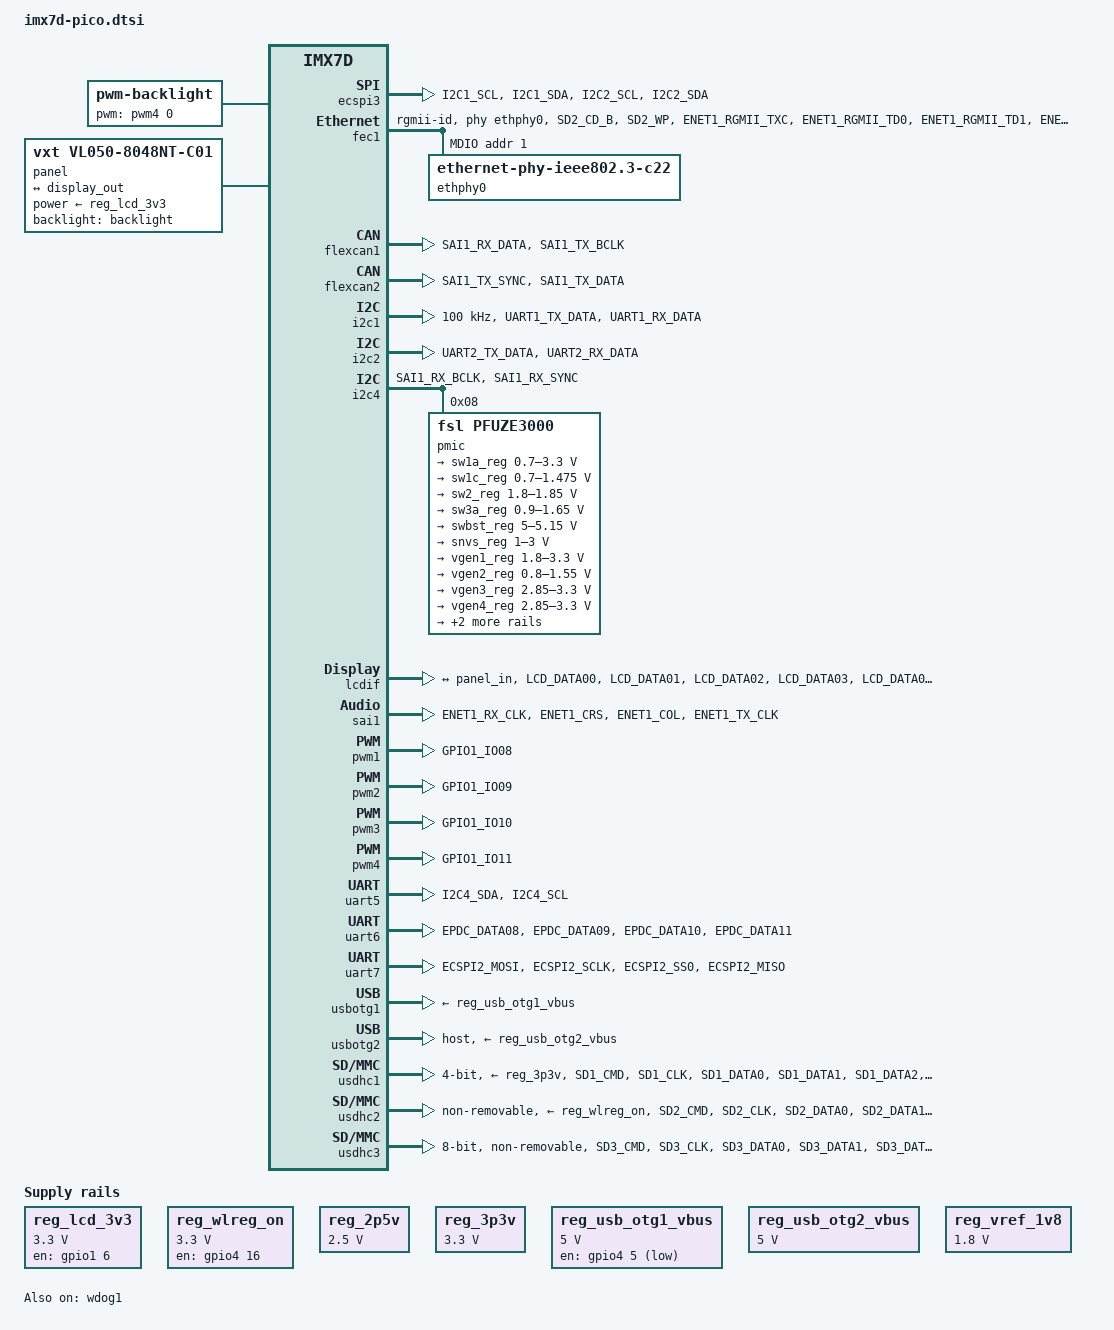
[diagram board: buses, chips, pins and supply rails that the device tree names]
// SPDX-License-Identifier: (GPL-2.0+ OR MIT)
//
// Copyright 2017 NXP

/dts-v1/;

#include "imx7d.dtsi"

/ {
	backlight: backlight {
		compatible = "pwm-backlight";
		pwms = <&pwm4 0 50000 0>;
		brightness-levels = <0 36 72 108 144 180 216 255>;
		default-brightness-level = <6>;
	};

	/* Will be filled by the bootloader */
	memory@80000000 {
		device_type = "memory";
		reg = <0x80000000 0>;
	};

	panel {
		compatible = "vxt,vl050-8048nt-c01";
		backlight = <&backlight>;
		power-supply = <&reg_lcd_3v3>;

		port {
			panel_in: endpoint {
				remote-endpoint = <&display_out>;
			};
		};
	};

	reg_lcd_3v3: regulator-lcd-3v3 {
		compatible = "regulator-fixed";
		pinctrl-names = "default";
		pinctrl-0 = <&pinctrl_reg_lcdreg_on>;
		regulator-name = "lcd-3v3";
		regulator-min-microvolt = <3300000>;
		regulator-max-microvolt = <3300000>;
		gpio = <&gpio1 6 GPIO_ACTIVE_HIGH>;
		enable-active-high;
        };

	reg_wlreg_on: regulator-wlreg_on {
		compatible = "regulator-fixed";
		pinctrl-names = "default";
		pinctrl-0 = <&pinctrl_reg_wlreg_on>;
		regulator-name = "wlreg_on";
		regulator-min-microvolt = <3300000>;
		regulator-max-microvolt = <3300000>;
		gpio = <&gpio4 16 GPIO_ACTIVE_HIGH>;
		enable-active-high;
	};

	reg_2p5v: regulator-2p5v {
		compatible = "regulator-fixed";
		regulator-name = "2P5V";
		regulator-min-microvolt = <2500000>;
		regulator-max-microvolt = <2500000>;
		regulator-always-on;
	};

	reg_3p3v: regulator-3p3v {
		compatible = "regulator-fixed";
		regulator-name = "3P3V";
		regulator-min-microvolt = <3300000>;
		regulator-max-microvolt = <3300000>;
		regulator-always-on;
	};

	reg_usb_otg1_vbus: regulator-usb-otg1-vbus {
		pinctrl-names = "default";
		pinctrl-0 = <&pinctrl_usbotg1_pwr>;
		compatible = "regulator-fixed";
		regulator-name = "usb_otg1_vbus";
		regulator-min-microvolt = <5000000>;
		regulator-max-microvolt = <5000000>;
		gpio = <&gpio4 5 GPIO_ACTIVE_LOW>;
	};

	reg_usb_otg2_vbus: regulator-usb-otg2-vbus {
		compatible = "regulator-fixed";
		regulator-name = "usb_otg2_vbus";
		regulator-min-microvolt = <5000000>;
		regulator-max-microvolt = <5000000>;
	};

	reg_vref_1v8: regulator-vref-1v8 {
		compatible = "regulator-fixed";
		regulator-name = "vref-1v8";
		regulator-min-microvolt = <1800000>;
		regulator-max-microvolt = <1800000>;
	};

	usdhc2_pwrseq: usdhc2_pwrseq {
		compatible = "mmc-pwrseq-simple";
		clocks = <&clks IMX7D_CLKO2_ROOT_DIV>;
		clock-names = "ext_clock";
	};
};

&clks {
	assigned-clocks = <&clks IMX7D_CLKO2_ROOT_SRC>,
			  <&clks IMX7D_CLKO2_ROOT_DIV>;
	assigned-clock-parents = <&clks IMX7D_CKIL>;
	assigned-clock-rates = <0>, <32768>;
};

&ecspi3 {
	cs-gpios = <&gpio4 11 GPIO_ACTIVE_LOW>;
	pinctrl-names = "default";
	pinctrl-0 = <&pinctrl_ecspi3>;
	status = "okay";
};

&fec1 {
	pinctrl-names = "default";
	pinctrl-0 = <&pinctrl_enet1>;
	assigned-clocks = <&clks IMX7D_ENET1_TIME_ROOT_SRC>,
			  <&clks IMX7D_ENET1_TIME_ROOT_CLK>;
	assigned-clock-parents = <&clks IMX7D_PLL_ENET_MAIN_100M_CLK>;
	assigned-clock-rates = <0>, <100000000>;
	phy-mode = "rgmii-id";
	phy-handle = <&ethphy0>;
	fsl,magic-packet;
	phy-reset-gpios = <&gpio6 11 GPIO_ACTIVE_LOW>;
	status = "okay";

	mdio {
		#address-cells = <1>;
		#size-cells = <0>;

		ethphy0: ethernet-phy@1 {
			compatible = "ethernet-phy-ieee802.3-c22";
			reg = <1>;
			status = "okay";
		};
	};
};

&flexcan1 {
	pinctrl-names = "default";
	pinctrl-0 = <&pinctrl_can1>;
	status = "okay";
};

&flexcan2 {
	pinctrl-names = "default";
	pinctrl-0 = <&pinctrl_can2>;
	status = "okay";
};

&i2c1 {
	clock-frequency = <100000>;
	pinctrl-names = "default";
	pinctrl-0 = <&pinctrl_i2c1>;
	status = "okay";
};

&i2c2 {
	pinctrl-names = "default";
	pinctrl-0 = <&pinctrl_i2c2>;
	status = "okay";
};

&i2c4 {
	pinctrl-names = "default";
	pinctrl-0 = <&pinctrl_i2c4>;
	status = "okay";

	pmic: pfuze3000@8 {
		compatible = "fsl,pfuze3000";
		reg = <0x08>;

		regulators {
			sw1a_reg: sw1a {
				regulator-min-microvolt = <700000>;
				regulator-max-microvolt = <3300000>;
				regulator-boot-on;
				regulator-always-on;
				regulator-ramp-delay = <6250>;
			};
			/* use sw1c_reg to align with pfuze100/pfuze200 */
			sw1c_reg: sw1b {
				regulator-min-microvolt = <700000>;
				regulator-max-microvolt = <1475000>;
				regulator-boot-on;
				regulator-always-on;
				regulator-ramp-delay = <6250>;
			};

			sw2_reg: sw2 {
				regulator-min-microvolt = <1800000>;
				regulator-max-microvolt = <1850000>;
				regulator-boot-on;
				regulator-always-on;
			};

			sw3a_reg: sw3 {
				regulator-min-microvolt = <900000>;
				regulator-max-microvolt = <1650000>;
				regulator-boot-on;
				regulator-always-on;
			};

			swbst_reg: swbst {
				regulator-min-microvolt = <5000000>;
				regulator-max-microvolt = <5150000>;
			};

			snvs_reg: vsnvs {
				regulator-min-microvolt = <1000000>;
				regulator-max-microvolt = <3000000>;
				regulator-boot-on;
				regulator-always-on;
			};

			vref_reg: vrefddr {
				regulator-boot-on;
				regulator-always-on;
			};

			vgen1_reg: vldo1 {
				regulator-min-microvolt = <1800000>;
				regulator-max-microvolt = <3300000>;
				regulator-always-on;
			};

			vgen2_reg: vldo2 {
				regulator-min-microvolt = <800000>;
				regulator-max-microvolt = <1550000>;
			};

			vgen3_reg: vccsd {
				regulator-min-microvolt = <2850000>;
				regulator-max-microvolt = <3300000>;
				regulator-always-on;
			};

			vgen4_reg: v33 {
				regulator-min-microvolt = <2850000>;
				regulator-max-microvolt = <3300000>;
				regulator-always-on;
			};

			vgen5_reg: vldo3 {
				regulator-min-microvolt = <1800000>;
				regulator-max-microvolt = <3300000>;
				regulator-always-on;
			};

			vgen6_reg: vldo4 {
				regulator-min-microvolt = <1800000>;
				regulator-max-microvolt = <3300000>;
				regulator-always-on;
			};
		};
	};
};

&lcdif {
	pinctrl-names = "default";
	pinctrl-0 = <&pinctrl_lcdif>;
	status = "okay";

	port {
		display_out: endpoint {
			remote-endpoint = <&panel_in>;
		};
	};
};

&sai1 {
	pinctrl-names = "default";
	pinctrl-0 = <&pinctrl_sai1>;
	assigned-clocks = <&clks IMX7D_SAI1_ROOT_SRC>,
			  <&clks IMX7D_SAI1_ROOT_CLK>;
	assigned-clock-parents = <&clks IMX7D_PLL_AUDIO_POST_DIV>;
	assigned-clock-rates = <0>, <24576000>;
	status = "okay";
};


&pwm1 {
	pinctrl-names = "default";
	pinctrl-0 = <&pinctrl_pwm1>;
	status = "okay";
};

&pwm2 {
	pinctrl-names = "default";
	pinctrl-0 = <&pinctrl_pwm2>;
	status = "okay";
};

&pwm3 {
	pinctrl-names = "default";
	pinctrl-0 = <&pinctrl_pwm3>;
	status = "okay";
};

&pwm4 { /* Backlight */
	pinctrl-names = "default";
	pinctrl-0 = <&pinctrl_pwm4>;
	status = "okay";
};

&uart5 {
	pinctrl-names = "default";
	pinctrl-0 = <&pinctrl_uart5>;
	assigned-clocks = <&clks IMX7D_UART5_ROOT_SRC>;
	assigned-clock-parents = <&clks IMX7D_PLL_SYS_MAIN_240M_CLK>;
	status = "okay";
};

&uart6 {
	pinctrl-names = "default";
	pinctrl-0 = <&pinctrl_uart6>;
	assigned-clocks = <&clks IMX7D_UART6_ROOT_SRC>;
	assigned-clock-parents = <&clks IMX7D_OSC_24M_CLK>;
	uart-has-rtscts;
	status = "okay";
};

&uart7 { /* Bluetooth */
	pinctrl-names = "default";
	pinctrl-0 = <&pinctrl_uart7>;
	assigned-clocks = <&clks IMX7D_UART7_ROOT_SRC>;
	assigned-clock-parents = <&clks IMX7D_PLL_SYS_MAIN_240M_CLK>;
	uart-has-rtscts;
	status = "okay";
};

&usbotg1 {
	vbus-supply = <&reg_usb_otg1_vbus>;
	status = "okay";
};

&usbotg2 {
	vbus-supply = <&reg_usb_otg2_vbus>;
	dr_mode = "host";
	status = "okay";
};

&usdhc1 {
	pinctrl-names = "default", "state_100mhz", "state_200mhz";
	pinctrl-0 = <&pinctrl_usdhc1>;
	pinctrl-1 = <&pinctrl_usdhc1_100mhz>;
	pinctrl-2 = <&pinctrl_usdhc1_200mhz>;
	cd-gpios = <&gpio5 0 GPIO_ACTIVE_LOW>;
	bus-width = <4>;
	fsl,tuning-step = <2>;
	vmmc-supply = <&reg_3p3v>;
	wakeup-source;
	no-1-8-v;
	keep-power-in-suspend;
	status = "okay";
};

&usdhc2 { /* Wifi SDIO */
	pinctrl-names = "default";
	pinctrl-0 = <&pinctrl_usdhc2 &pinctrl_wifi_clk>;
	no-1-8-v;
	non-removable;
	keep-power-in-suspend;
	wakeup-source;
	vmmc-supply = <&reg_wlreg_on>;
	mmc-pwrseq = <&usdhc2_pwrseq>;
	status = "okay";
};

&usdhc3 {
	pinctrl-names = "default", "state_100mhz", "state_200mhz";
	pinctrl-0 = <&pinctrl_usdhc3>;
	pinctrl-1 = <&pinctrl_usdhc3_100mhz>;
	pinctrl-2 = <&pinctrl_usdhc3_200mhz>;
	assigned-clocks = <&clks IMX7D_USDHC3_ROOT_CLK>;
	assigned-clock-rates = <400000000>;
	bus-width = <8>;
	no-1-8-v;
	fsl,tuning-step = <2>;
	non-removable;
	status = "okay";
};

&wdog1 {
	pinctrl-names = "default";
	pinctrl-0 = <&pinctrl_wdog>;
	fsl,ext-reset-output;
	status = "okay";
};

&iomuxc {
	pinctrl_ecspi3: ecspi3grp {
		fsl,pins = <
			MX7D_PAD_I2C1_SCL__ECSPI3_MISO		0x2
			MX7D_PAD_I2C1_SDA__ECSPI3_MOSI		0x2
			MX7D_PAD_I2C2_SCL__ECSPI3_SCLK		0x2
			MX7D_PAD_I2C2_SDA__GPIO4_IO11		0x14
		>;
	};

	pinctrl_i2c1: i2c1grp {
		fsl,pins = <
			MX7D_PAD_UART1_TX_DATA__I2C1_SDA	0x4000007f
			MX7D_PAD_UART1_RX_DATA__I2C1_SCL	0x4000007f
		>;
	};

	pinctrl_i2c2: i2c2grp {
		fsl,pins = <
			MX7D_PAD_UART2_TX_DATA__I2C2_SDA	0x4000007f
			MX7D_PAD_UART2_RX_DATA__I2C2_SCL	0x4000007f
		>;
	};

	pinctrl_enet1: enet1grp {
		fsl,pins = <
			MX7D_PAD_SD2_CD_B__ENET1_MDIO			0x3
			MX7D_PAD_SD2_WP__ENET1_MDC			0x3
			MX7D_PAD_ENET1_RGMII_TXC__ENET1_RGMII_TXC	0x1
			MX7D_PAD_ENET1_RGMII_TD0__ENET1_RGMII_TD0	0x1
			MX7D_PAD_ENET1_RGMII_TD1__ENET1_RGMII_TD1	0x1
			MX7D_PAD_ENET1_RGMII_TD2__ENET1_RGMII_TD2	0x1
			MX7D_PAD_ENET1_RGMII_TD3__ENET1_RGMII_TD3	0x1
			MX7D_PAD_ENET1_RGMII_TX_CTL__ENET1_RGMII_TX_CTL	0x1
			MX7D_PAD_ENET1_RGMII_RXC__ENET1_RGMII_RXC	0x1
			MX7D_PAD_ENET1_RGMII_RD0__ENET1_RGMII_RD0	0x1
			MX7D_PAD_ENET1_RGMII_RD1__ENET1_RGMII_RD1	0x1
			MX7D_PAD_ENET1_RGMII_RD2__ENET1_RGMII_RD2	0x1
			MX7D_PAD_ENET1_RGMII_RD3__ENET1_RGMII_RD3	0x1
			MX7D_PAD_ENET1_RGMII_RX_CTL__ENET1_RGMII_RX_CTL	0x1
			MX7D_PAD_SD3_RESET_B__GPIO6_IO11                0x1  /* Ethernet reset */
		>;
	};

	pinctrl_can1: can1frp {
		fsl,pins = <
			MX7D_PAD_SAI1_RX_DATA__FLEXCAN1_RX	0x59
			MX7D_PAD_SAI1_TX_BCLK__FLEXCAN1_TX	0x59
		>;
	};

	pinctrl_can2: can2frp {
		fsl,pins = <
			MX7D_PAD_SAI1_TX_SYNC__FLEXCAN2_RX	0x59
			MX7D_PAD_SAI1_TX_DATA__FLEXCAN2_TX	0x59
		>;
	};

	pinctrl_i2c4: i2c4grp {
		fsl,pins = <
			MX7D_PAD_SAI1_RX_BCLK__I2C4_SDA		0x4000007f
			MX7D_PAD_SAI1_RX_SYNC__I2C4_SCL		0x4000007f
		>;
	};

	pinctrl_lcdif: lcdifgrp {
		fsl,pins = <
			MX7D_PAD_LCD_DATA00__LCD_DATA0		0x79
			MX7D_PAD_LCD_DATA01__LCD_DATA1		0x79
			MX7D_PAD_LCD_DATA02__LCD_DATA2		0x79
			MX7D_PAD_LCD_DATA03__LCD_DATA3		0x79
			MX7D_PAD_LCD_DATA04__LCD_DATA4		0x79
			MX7D_PAD_LCD_DATA05__LCD_DATA5		0x79
			MX7D_PAD_LCD_DATA06__LCD_DATA6		0x79
			MX7D_PAD_LCD_DATA07__LCD_DATA7		0x79
			MX7D_PAD_LCD_DATA08__LCD_DATA8		0x79
			MX7D_PAD_LCD_DATA09__LCD_DATA9		0x79
			MX7D_PAD_LCD_DATA10__LCD_DATA10		0x79
			MX7D_PAD_LCD_DATA11__LCD_DATA11		0x79
			MX7D_PAD_LCD_DATA12__LCD_DATA12		0x79
			MX7D_PAD_LCD_DATA13__LCD_DATA13		0x79
			MX7D_PAD_LCD_DATA14__LCD_DATA14		0x79
			MX7D_PAD_LCD_DATA15__LCD_DATA15		0x79
			MX7D_PAD_LCD_DATA16__LCD_DATA16		0x79
			MX7D_PAD_LCD_DATA17__LCD_DATA17		0x79
			MX7D_PAD_LCD_DATA18__LCD_DATA18		0x79
			MX7D_PAD_LCD_DATA19__LCD_DATA19		0x79
			MX7D_PAD_LCD_DATA20__LCD_DATA20		0x79
			MX7D_PAD_LCD_DATA21__LCD_DATA21		0x79
			MX7D_PAD_LCD_DATA22__LCD_DATA22		0x79
			MX7D_PAD_LCD_DATA23__LCD_DATA23		0x79
			MX7D_PAD_LCD_CLK__LCD_CLK		0x79
			MX7D_PAD_LCD_ENABLE__LCD_ENABLE		0x78
			MX7D_PAD_LCD_VSYNC__LCD_VSYNC		0x78
			MX7D_PAD_LCD_HSYNC__LCD_HSYNC		0x78
			MX7D_PAD_LCD_RESET__GPIO3_IO4		0x14
		>;
	};

	pinctrl_pwm1: pwm1 {
		fsl,pins = <
			MX7D_PAD_GPIO1_IO08__PWM1_OUT   0x7f
		>;
	};

	pinctrl_pwm2: pwm2 {
		fsl,pins = <
			MX7D_PAD_GPIO1_IO09__PWM2_OUT   0x7f
		>;
	};

	pinctrl_pwm3: pwm3 {
		fsl,pins = <
			MX7D_PAD_GPIO1_IO10__PWM3_OUT   0x7f
		>;
	};

	pinctrl_pwm4: pwm4grp{
		fsl,pins = <
			MX7D_PAD_GPIO1_IO11__PWM4_OUT	0x7f
		>;
	};

	pinctrl_reg_wlreg_on: regregongrp {
		fsl,pins = <
			MX7D_PAD_ECSPI1_SCLK__GPIO4_IO16	0x59
		>;
	};

	pinctrl_sai1: sai1grp {
		fsl,pins = <
			MX7D_PAD_ENET1_RX_CLK__SAI1_TX_BCLK	0x1f
			MX7D_PAD_ENET1_CRS__SAI1_TX_SYNC	0x1f
			MX7D_PAD_ENET1_COL__SAI1_TX_DATA0	0x30
			MX7D_PAD_ENET1_TX_CLK__SAI1_RX_DATA0	0x1f
		>;
	};

	pinctrl_uart5: uart5grp {
		fsl,pins = <
			MX7D_PAD_I2C4_SDA__UART5_DCE_TX		0x79
			MX7D_PAD_I2C4_SCL__UART5_DCE_RX		0x79
		>;
	};

	pinctrl_uart6: uart6grp {
		fsl,pins = <
			MX7D_PAD_EPDC_DATA08__UART6_DCE_RX	0x79
			MX7D_PAD_EPDC_DATA09__UART6_DCE_TX	0x79
			MX7D_PAD_EPDC_DATA10__UART6_DCE_RTS	0x79
			MX7D_PAD_EPDC_DATA11__UART6_DCE_CTS	0x79
		>;
	};

	pinctrl_uart7: uart7grp {
		fsl,pins = <
			MX7D_PAD_ECSPI2_MOSI__UART7_DCE_TX	0x79
			MX7D_PAD_ECSPI2_SCLK__UART7_DCE_RX	0x79
			MX7D_PAD_ECSPI2_SS0__UART7_DCE_CTS	0x79
			MX7D_PAD_ECSPI2_MISO__UART7_DCE_RTS	0x79
		>;
	};

	pinctrl_usbotg1_pwr: usbotg_pwr {
		fsl,pins = <
			MX7D_PAD_UART3_TX_DATA__GPIO4_IO5	0x14
		>;
	};

	pinctrl_usdhc1: usdhc1grp {
		fsl,pins = <
			MX7D_PAD_SD1_CMD__SD1_CMD		0x59
			MX7D_PAD_SD1_CLK__SD1_CLK		0x19
			MX7D_PAD_SD1_DATA0__SD1_DATA0		0x59
			MX7D_PAD_SD1_DATA1__SD1_DATA1		0x59
			MX7D_PAD_SD1_DATA2__SD1_DATA2		0x59
			MX7D_PAD_SD1_DATA3__SD1_DATA3		0x59
			MX7D_PAD_SD1_CD_B__GPIO5_IO0		0x15
		>;
	};

	pinctrl_usdhc1_100mhz: usdhc1grp_100mhz {
		fsl,pins = <
			MX7D_PAD_SD1_CMD__SD1_CMD		0x5a
			MX7D_PAD_SD1_CLK__SD1_CLK		0x1a
			MX7D_PAD_SD1_DATA0__SD1_DATA0		0x5a
			MX7D_PAD_SD1_DATA1__SD1_DATA1		0x5a
			MX7D_PAD_SD1_DATA2__SD1_DATA2		0x5a
			MX7D_PAD_SD1_DATA3__SD1_DATA3		0x5a
			MX7D_PAD_SD1_CD_B__GPIO5_IO0		0x15
		>;
	};

	pinctrl_usdhc1_200mhz: usdhc1grp_200mhz {
		fsl,pins = <
			MX7D_PAD_SD1_CMD__SD1_CMD		0x5b
			MX7D_PAD_SD1_CLK__SD1_CLK		0x1b
			MX7D_PAD_SD1_DATA0__SD1_DATA0		0x5b
			MX7D_PAD_SD1_DATA1__SD1_DATA1		0x5b
			MX7D_PAD_SD1_DATA2__SD1_DATA2		0x5b
			MX7D_PAD_SD1_DATA3__SD1_DATA3		0x5b
			MX7D_PAD_SD1_CD_B__GPIO5_IO0		0x15
		>;
	};

	pinctrl_usdhc2: usdhc2grp {
		fsl,pins = <
			MX7D_PAD_SD2_CMD__SD2_CMD		0x59
			MX7D_PAD_SD2_CLK__SD2_CLK		0x19
			MX7D_PAD_SD2_DATA0__SD2_DATA0		0x59
			MX7D_PAD_SD2_DATA1__SD2_DATA1		0x59
			MX7D_PAD_SD2_DATA2__SD2_DATA2		0x59
			MX7D_PAD_SD2_DATA3__SD2_DATA3		0x59
		>;
	};

	pinctrl_usdhc3: usdhc3grp {
		fsl,pins = <
			MX7D_PAD_SD3_CMD__SD3_CMD		0x59
			MX7D_PAD_SD3_CLK__SD3_CLK		0x19
			MX7D_PAD_SD3_DATA0__SD3_DATA0		0x59
			MX7D_PAD_SD3_DATA1__SD3_DATA1		0x59
			MX7D_PAD_SD3_DATA2__SD3_DATA2		0x59
			MX7D_PAD_SD3_DATA3__SD3_DATA3		0x59
			MX7D_PAD_SD3_DATA4__SD3_DATA4		0x59
			MX7D_PAD_SD3_DATA5__SD3_DATA5		0x59
			MX7D_PAD_SD3_DATA6__SD3_DATA6		0x59
			MX7D_PAD_SD3_DATA7__SD3_DATA7		0x59
		>;
	};

	pinctrl_usdhc3_100mhz: usdhc3grp_100mhz {
		fsl,pins = <
			MX7D_PAD_SD3_CMD__SD3_CMD		0x5a
			MX7D_PAD_SD3_CLK__SD3_CLK		0x1a
			MX7D_PAD_SD3_DATA0__SD3_DATA0		0x5a
			MX7D_PAD_SD3_DATA1__SD3_DATA1		0x5a
			MX7D_PAD_SD3_DATA2__SD3_DATA2		0x5a
			MX7D_PAD_SD3_DATA3__SD3_DATA3		0x5a
			MX7D_PAD_SD3_DATA4__SD3_DATA4		0x5a
			MX7D_PAD_SD3_DATA5__SD3_DATA5		0x5a
			MX7D_PAD_SD3_DATA6__SD3_DATA6		0x5a
			MX7D_PAD_SD3_DATA7__SD3_DATA7		0x5a
		>;
	};

	pinctrl_usdhc3_200mhz: usdhc3grp_200mhz {
		fsl,pins = <
			MX7D_PAD_SD3_CMD__SD3_CMD		0x5b
			MX7D_PAD_SD3_CLK__SD3_CLK		0x1b
			MX7D_PAD_SD3_DATA0__SD3_DATA0		0x5b
			MX7D_PAD_SD3_DATA1__SD3_DATA1		0x5b
			MX7D_PAD_SD3_DATA2__SD3_DATA2		0x5b
			MX7D_PAD_SD3_DATA3__SD3_DATA3		0x5b
			MX7D_PAD_SD3_DATA4__SD3_DATA4		0x5b
			MX7D_PAD_SD3_DATA5__SD3_DATA5		0x5b
			MX7D_PAD_SD3_DATA6__SD3_DATA6		0x5b
			MX7D_PAD_SD3_DATA7__SD3_DATA7		0x5b
		>;
	};
};

&iomuxc_lpsr {
	pinctrl_wifi_clk: wificlkgrp {
		fsl,pins = <
			MX7D_PAD_LPSR_GPIO1_IO03__CCM_CLKO2	0x7d
		>;
	};

	pinctrl_reg_lcdreg_on: reglcdongrp {
	fsl,pins = <
			MX7D_PAD_LPSR_GPIO1_IO06__GPIO1_IO6	0x59
		>;
	};

	pinctrl_wdog: wdoggrp {
		fsl,pins = <
			MX7D_PAD_LPSR_GPIO1_IO00__WDOG1_WDOG_B	0x74
		>;
	};
};
